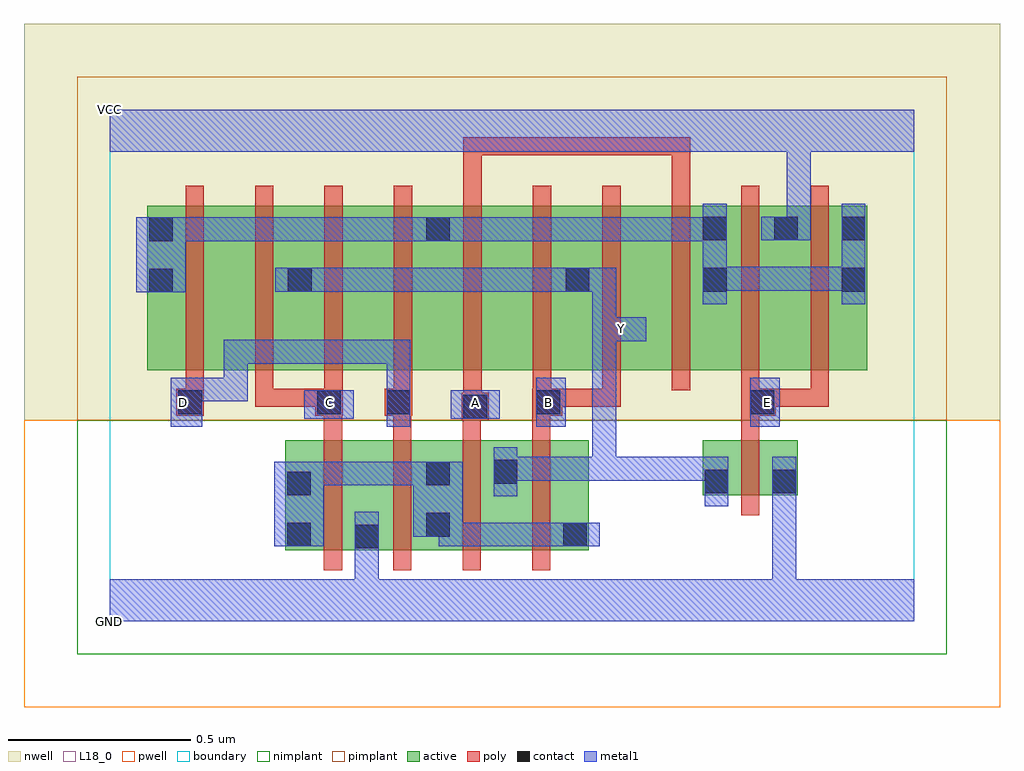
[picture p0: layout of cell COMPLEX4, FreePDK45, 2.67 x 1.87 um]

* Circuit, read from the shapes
.subckt COMPLEX4 A B C D E GND VCC Y
M1 GND C n1 VSUBS nfet w=0.3u l=0.05u
M2 n1 D GND VSUBS nfet w=0.3u l=0.05u
M3 Y A n1 VSUBS nfet w=0.3u l=0.05u
M4 n1 B Y VSUBS nfet w=0.3u l=0.05u
M5 GND E Y VSUBS nfet w=0.15u l=0.05u
M6 n2 D n3 n4 pfet w=0.45u l=0.05u
M7 Y C n2 n4 pfet w=0.45u l=0.05u
M8 n5 C Y n4 pfet w=0.45u l=0.05u
M9 n3 D n5 n4 pfet w=0.45u l=0.05u
M10 n6 A n3 n4 pfet w=0.45u l=0.05u
M11 Y B n6 n4 pfet w=0.45u l=0.05u
M12 n7 B Y n4 pfet w=0.45u l=0.05u
M13 n3 A n7 n4 pfet w=0.45u l=0.05u
M14 VCC E n3 n4 pfet w=0.45u l=0.05u m=2
.ends

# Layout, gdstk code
import gdstk
lib = gdstk.Library(unit=1e-6, precision=1e-09)
def R(c, l, rs):  # rectangles x0, y0, x1, y1
    for r in rs: c.add(gdstk.rectangle(r[:2], r[2:], *l))
def A(c, l, x, y, w, h, nx, ny, dx, dy):  # array of equal rectangles
    R(c, l, [(x+i*dx, y+j*dy, x+i*dx+w, y+j*dy+h) for i in range(nx) for j in range(ny)])
active = (1, 0)
pwell = (2, 0)
nwell = (3, 0)
nimplant = (4, 0)
pimplant = (5, 0)
poly = (9, 0)
contact = (10, 0)
metal1 = (11, 0)
L18_0 = (18, 0)
boundary = (235, 0)

complex4 = lib.new_cell('COMPLEX4')
R(complex4, active, [(0.48,0.195,0.555,0.495), (0.48,0.195,0.74,0.495), (0.665,0.195,0.935,0.495), (0.665,0.195,0.74,0.377), (0.86,0.195,0.935,0.495), (0.86,0.195,1.12,0.495), (1.045,0.195,1.31,0.495), (1.045,0.195,1.12,0.447), (1.235,0.195,1.31,0.495), (1.622,0.345,1.697,0.495), (1.622,0.345,1.882,0.495), (1.807,0.345,1.882,0.495), (0.102,0.687,0.177,1.137), (0.102,0.687,0.327,1.137), (0.327,0.687,0.557,1.137), (0.482,0.687,0.707,1.137), (0.707,0.687,0.935,1.137), (0.86,0.687,1.087,1.137), (1.087,0.687,1.317,1.137), (1.242,0.687,1.467,1.137), (1.467,0.687,1.692,1.137), (1.617,0.687,1.887,1.137), (1.812,0.687,2.072,1.137), (1.997,0.687,2.072,1.137), (0.482,0.702,0.557,1.055), (0.86,0.715,0.935,1.137), (1.242,0.732,1.317,1.055), (1.617,0.857,1.692,1.112), (1.812,0.857,1.887,1.137)])
R(complex4, pwell, [(-0.235,-0.235,2.435,0.55)])
R(complex4, nwell, [(-0.235,0.55,2.435,1.635)])
R(complex4, nimplant, [(-0.09,-0.09,2.29,0.55)])
R(complex4, pimplant, [(-0.09,0.55,2.29,1.49)])
A(complex4, poly, 0.585, 0.14, 0.05, 0.41, 4, 1, 0.19, 0)
A(complex4, poly, 0.207, 0.587, 0.05, 0.095, 4, 1, 0.19, 0)
A(complex4, poly, 0.207, 0.632, 0.05, 0.56, 10, 1, 0.19, 0)
R(complex4, poly, [(1.727,0.29,1.777,0.55), (0.585,0.5,0.635,0.612), (0.775,0.5,0.825,0.612), (0.965,0.5,1.015,0.6), (1.155,0.5,1.205,0.612), (1.727,0.5,1.777,0.612), (0.962,0.55,1.037,0.625), (0.182,0.562,0.257,0.637), (0.562,0.562,0.637,0.637), (0.752,0.562,0.827,0.637), (0.775,0.562,0.825,0.612), (0.775,0.562,0.825,0.612), (1.155,0.562,1.237,0.637), (1.727,0.562,1.777,0.612), (1.727,0.562,1.777,0.612), (1.727,0.562,1.822,0.637), (0.967,0.575,1.017,0.625), (0.967,0.575,1.017,0.625), (0.967,0.575,1.017,0.682), (0.397,0.587,0.447,0.637), (0.397,0.587,0.447,0.637), (0.397,0.587,0.447,0.637), (0.397,0.587,0.637,0.637), (0.587,0.587,0.637,0.637), (0.587,0.587,0.637,0.637), (1.157,0.587,1.207,0.682), (1.157,0.587,1.207,0.637), (1.157,0.587,1.207,0.637), (1.157,0.587,1.397,0.637), (1.347,0.587,1.397,0.682), (1.347,0.587,1.397,0.637), (1.347,0.587,1.397,0.637), (1.347,0.587,1.397,0.637), (1.727,0.587,1.777,0.682), (1.772,0.587,1.967,0.637), (1.917,0.587,1.967,0.682), (1.917,0.587,1.967,0.637), (1.917,0.587,1.967,0.637), (1.917,0.587,1.967,0.637), (0.967,1.142,1.017,1.325), (1.537,1.142,1.587,1.325), (0.967,1.275,1.017,1.325), (0.967,1.275,1.017,1.325), (0.967,1.275,1.017,1.325), (0.967,1.275,1.15,1.325), (1.1,1.275,1.15,1.325), (1.1,1.275,1.455,1.325), (1.405,1.275,1.455,1.325), (1.405,1.275,1.455,1.325), (1.405,1.275,1.455,1.325), (1.405,1.275,1.587,1.325), (1.537,1.275,1.587,1.325), (1.537,1.275,1.587,1.325), (1.537,1.275,1.587,1.325)])
R(complex4, contact, [(0.67,0.2,0.735,0.265), (0.485,0.205,0.55,0.27), (1.24,0.205,1.305,0.27), (0.865,0.232,0.93,0.297), (0.485,0.345,0.55,0.41), (1.627,0.35,1.692,0.415), (1.812,0.35,1.877,0.415), (0.865,0.372,0.93,0.437), (1.05,0.377,1.115,0.442), (0.967,0.555,1.032,0.62), (0.187,0.567,0.252,0.632), (0.567,0.567,0.632,0.632), (0.757,0.567,0.822,0.632), (1.167,0.567,1.232,0.632), (1.752,0.567,1.817,0.632), (0.107,0.9,0.172,0.965), (0.487,0.902,0.552,0.967), (1.247,0.902,1.312,0.967), (1.622,0.902,1.687,0.967), (2.002,0.902,2.067,0.967), (0.107,1.04,0.172,1.105), (0.865,1.04,0.93,1.105), (1.622,1.042,1.687,1.107), (1.817,1.042,1.882,1.107), (2.002,1.042,2.067,1.107)])
R(complex4, metal1, [(0,0,2.2,0.115), (0.67,0.05,0.735,0.23), (1.812,0.05,1.877,0.115), (1.812,0.05,1.877,0.115), (1.812,0.05,1.877,0.38), (0.67,0.165,0.735,0.3), (0.45,0.205,0.585,0.437), (0.9,0.205,0.965,0.27), (0.9,0.205,0.965,0.27), (0.9,0.205,0.965,0.27), (0.9,0.205,1.132,0.27), (0.9,0.205,0.965,0.297), (1.067,0.205,1.132,0.27), (1.067,0.205,1.27,0.27), (1.205,0.205,1.27,0.27), (1.205,0.205,1.27,0.27), (1.205,0.205,1.34,0.27), (0.83,0.232,0.965,0.437), (1.627,0.315,1.692,0.45), (1.812,0.315,1.877,0.45), (1.05,0.342,1.115,0.477), (0.52,0.372,0.585,0.437), (0.52,0.372,0.585,0.437), (0.52,0.372,0.725,0.437), (0.66,0.372,0.725,0.437), (0.66,0.372,0.725,0.437), (0.66,0.372,0.725,0.437), (0.66,0.372,0.895,0.437), (1.05,0.385,1.385,0.45), (1.32,0.385,1.385,0.45), (1.32,0.385,1.385,0.45), (1.32,0.385,1.385,0.45), (1.32,0.385,1.542,0.45), (1.32,0.385,1.385,0.832), (1.477,0.385,1.542,0.45), (1.477,0.385,1.542,0.45), (1.477,0.385,1.542,0.45), (1.477,0.385,1.68,0.45), (1.615,0.385,1.68,0.45), (1.615,0.385,1.692,0.45), (0.167,0.532,0.252,0.667), (0.757,0.532,0.822,0.77), (1.167,0.532,1.247,0.667), (1.752,0.532,1.832,0.667), (0.532,0.555,0.667,0.632), (0.932,0.555,1.067,0.632), (0.187,0.602,0.377,0.667), (0.312,0.602,0.377,0.77), (0.312,0.705,0.39,0.77), (0.325,0.705,0.39,0.77), (0.325,0.705,0.527,0.77), (0.462,0.705,0.527,0.77), (0.462,0.705,0.527,0.77), (0.462,0.705,0.527,0.77), (0.462,0.705,0.757,0.77), (0.692,0.705,0.757,0.77), (0.692,0.705,0.822,0.77), (1.32,0.767,1.385,0.967), (1.32,0.767,1.467,0.832), (1.622,0.867,1.687,1.142), (2.002,0.867,2.067,1.142), (0.072,0.9,0.207,1.105), (0.452,0.902,0.587,0.967), (0.522,0.902,0.587,0.967), (0.522,0.902,0.587,0.967), (0.522,0.902,0.757,0.967), (0.692,0.902,0.757,0.967), (0.692,0.902,0.757,0.967), (0.692,0.902,0.757,0.967), (0.692,0.902,0.965,0.967), (0.9,0.902,0.965,0.967), (0.9,0.902,0.965,0.967), (0.9,0.902,0.965,0.967), (0.9,0.902,1.132,0.967), (1.067,0.902,1.132,0.967), (1.067,0.902,1.277,0.967), (1.212,0.902,1.277,0.967), (1.212,0.902,1.277,0.967), (1.212,0.902,1.347,0.967), (1.282,0.902,1.347,0.967), (1.282,0.902,1.385,0.967), (1.622,0.905,1.825,0.97), (1.76,0.905,1.825,0.97), (1.76,0.905,1.825,0.97), (1.76,0.905,1.825,0.97), (1.76,0.905,2.067,0.97), (2.002,0.905,2.067,0.97), (2.002,0.905,2.067,0.97), (0.142,1.04,0.207,1.105), (0.142,1.04,0.207,1.105), (0.142,1.04,0.377,1.105), (0.312,1.04,0.377,1.105), (0.312,1.04,0.377,1.105), (0.312,1.04,0.377,1.105), (0.312,1.04,0.39,1.105), (0.325,1.04,0.39,1.105), (0.325,1.04,0.527,1.105), (0.462,1.04,0.527,1.105), (0.462,1.04,0.527,1.105), (0.462,1.04,0.527,1.105), (0.462,1.04,0.725,1.105), (0.66,1.04,0.725,1.105), (0.66,1.04,0.725,1.105), (0.66,1.04,0.725,1.105), (0.66,1.04,0.895,1.105), (0.83,1.04,0.965,1.105), (0.9,1.04,0.965,1.105), (0.9,1.04,0.965,1.105), (0.9,1.04,1.102,1.105), (1.037,1.04,1.102,1.105), (1.037,1.04,1.102,1.105), (1.037,1.04,1.102,1.105), (1.037,1.04,1.27,1.105), (1.205,1.04,1.27,1.105), (1.205,1.04,1.522,1.105), (1.457,1.04,1.522,1.105), (1.457,1.04,1.522,1.105), (1.457,1.04,1.522,1.105), (1.457,1.04,1.522,1.105), (1.457,1.04,1.522,1.105), (1.457,1.04,1.68,1.105), (1.615,1.04,1.68,1.105), (1.615,1.04,1.687,1.105), (1.782,1.042,1.917,1.107), (1.852,1.042,1.917,1.107), (1.852,1.042,1.917,1.107), (1.852,1.042,1.917,1.35), (0,1.285,2.2,1.4), (1.852,1.285,1.917,1.35), (1.852,1.285,1.917,1.35)])
A(complex4, L18_0, 0.167, 0.567, 0.065, 0.065, 3, 1, 0.4, 0)
R(complex4, L18_0, [(0,0,2.2,0.115), (0.67,0.05,0.735,0.23), (1.812,0.05,1.877,0.115), (1.812,0.05,1.877,0.115), (1.812,0.05,1.877,0.38), (0.67,0.165,0.735,0.3), (1.627,0.315,1.692,0.45), (1.812,0.315,1.877,0.45), (1.05,0.342,1.115,0.477), (1.05,0.385,1.385,0.45), (1.32,0.385,1.385,0.45), (1.32,0.385,1.385,0.45), (1.32,0.385,1.385,0.45), (1.32,0.385,1.385,0.832), (1.32,0.385,1.542,0.45), (1.477,0.385,1.542,0.45), (1.477,0.385,1.542,0.45), (1.477,0.385,1.542,0.45), (1.477,0.385,1.68,0.45), (1.615,0.385,1.68,0.45), (1.615,0.385,1.692,0.45), (0.167,0.532,0.252,0.667), (0.757,0.532,0.822,0.77), (1.167,0.532,1.247,0.667), (1.752,0.532,1.832,0.667), (0.532,0.555,0.667,0.632), (0.932,0.555,1.067,0.632), (1.167,0.567,1.232,0.632), (1.767,0.567,1.832,0.632), (0.187,0.602,0.377,0.667), (0.312,0.602,0.377,0.77), (0.312,0.705,0.39,0.77), (0.325,0.705,0.39,0.77), (0.325,0.705,0.527,0.77), (0.462,0.705,0.527,0.77), (0.462,0.705,0.527,0.77), (0.462,0.705,0.527,0.77), (0.462,0.705,0.757,0.77), (0.692,0.705,0.757,0.77), (0.692,0.705,0.822,0.77), (1.32,0.767,1.467,0.832), (1.32,0.767,1.385,0.967), (1.367,0.767,1.432,0.832), (0.452,0.902,0.587,0.967), (0.522,0.902,0.587,0.967), (0.522,0.902,0.587,0.967), (0.522,0.902,0.757,0.967), (0.692,0.902,0.757,0.967), (0.692,0.902,0.757,0.967), (0.692,0.902,0.757,0.967), (0.692,0.902,0.965,0.967), (0.9,0.902,0.965,0.967), (0.9,0.902,0.965,0.967), (0.9,0.902,0.965,0.967), (0.9,0.902,1.132,0.967), (1.067,0.902,1.132,0.967), (1.067,0.902,1.277,0.967), (1.212,0.902,1.277,0.967), (1.212,0.902,1.277,0.967), (1.212,0.902,1.347,0.967), (1.282,0.902,1.347,0.967), (1.282,0.902,1.385,0.967), (1.782,1.042,1.917,1.107), (1.852,1.042,1.917,1.107), (1.852,1.042,1.917,1.107), (1.852,1.042,1.917,1.35), (0,1.285,2.2,1.4), (1.852,1.285,1.917,1.35), (1.852,1.285,1.917,1.35)])
R(complex4, boundary, [(0,0,2.2,1.4)])
complex4.add(gdstk.Label('A', (1,0.6), layer=11, texttype=0))
complex4.add(gdstk.Label('B', (1.2,0.6), layer=11, texttype=0))
complex4.add(gdstk.Label('C', (0.6,0.6), layer=11, texttype=0))
complex4.add(gdstk.Label('D', (0.2,0.6), layer=11, texttype=0))
complex4.add(gdstk.Label('E', (1.8,0.6), layer=11, texttype=0))
complex4.add(gdstk.Label('Y', (1.4,0.8), layer=11, texttype=0))
complex4.add(gdstk.Label('VCC', (0,1.4), layer=11, texttype=0))
complex4.add(gdstk.Label('GND', (0,0), layer=11, texttype=0))

lib.write_gds('COMPLEX4.gds')
